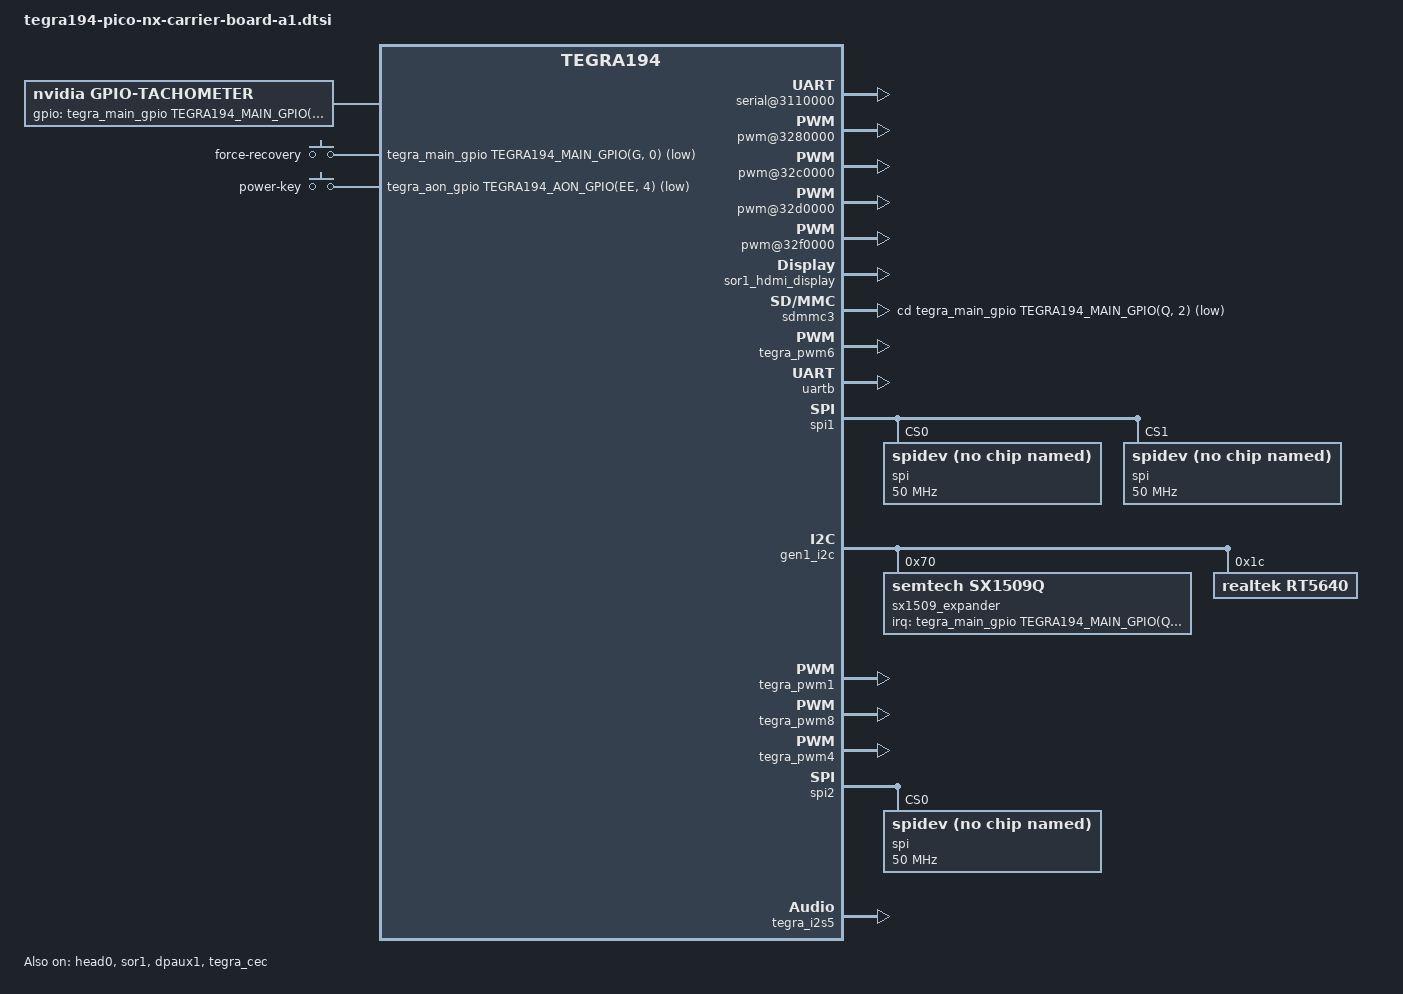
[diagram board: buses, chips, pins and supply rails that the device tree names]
/*
 * Copyright (c) 2019, NVIDIA CORPORATION.  All rights reserved.
 *
 * This program is free software; you can redistribute it and/or modify
 * it under the terms of the GNU General Public License as published by
 * the Free Software Foundation; version 2 of the License.
 *
 * This program is distributed in the hope that it will be useful, but WITHOUT
 * ANY WARRANTY; without even the implied warranty of MERCHANTABILITY or
 * FITNESS FOR A PARTICULAR PURPOSE.  See the GNU General Public License for
 * more details.
 */
#include <dt-bindings/gpio/tegra194-gpio.h>
#include "dt-bindings/input/input.h"
#include "tegra194-fixed-regulator-p3509-0000-a00.dtsi"
#include <dt-bindings/display/tegra-dc.h>
#include <dt-bindings/display/tegra-panel.h>
#include <t19x-common-platforms/tegra194-hdmi.dtsi>
#include <t19x-common-platforms/tegra194-dp.dtsi>
#include "tegra194-spmic-p3668.dtsi"
#include <audio/tegra-platforms-audio-dai-links.dtsi>

/**
 *	HDMI port
 */
&head0 {
	status = "okay";
	nvidia,fb-bpp = <32>;
	nvidia,fbmem-size = <265420800>; /* 8K (7680*4320) 32bpp double buffered */
	nvidia,fb-flags = <TEGRA_FB_FLIP_ON_PROBE>;
	win-mask = <0x7>;
	nvidia,fb-win = <0>;
	nvidia,dc-connector = <&sor1>;
	nvidia,dc-flags = <TEGRA_DC_FLAG_ENABLED>;
	avdd_hdmi-supply = <&p3668_spmic_sd0>; /* 1v0 */
	avdd_hdmi_pll-supply = <&p3668_spmic_sd1>; /* 1v8 */
	vdd_hdmi_5v0-supply = <&p3509_vdd_hdmi_5v0>; /* 5v0 */
};

&sor1 {
	status = "okay";
	nvidia,active-panel = <&sor1_hdmi_display>;
};

&sor1_hdmi_display {
	status = "okay";
	disp-default-out {
		nvidia,out-flags = <TEGRA_DC_OUT_HOTPLUG_LOW>;
	};
};

&dpaux1 {
	status = "okay";
};

&tegra_cec {
	status = "okay";
};

/**
 *	External SD card
 */ 
&sdmmc3 {
	mmc-ocr-mask = <0x0>;
	cd-inverted;
	cd-gpios = <&tegra_main_gpio TEGRA194_MAIN_GPIO(Q, 2) 0>;
	nvidia,cd-wakeup-capable;
	status = "okay";
};

/**
 * FAN System
 */

&tegra_pwm6 {
	status = "okay";
};

/ {

	tachometer {
        compatible = "nvidia,gpio-tachometer";
        win-len = <2>;
        pulse-per-rev = <2>;
        schedule-delay = <10000>;
        gpio = <&tegra_main_gpio TEGRA194_MAIN_GPIO(Y, 4) 0>;
        status = "okay";
    };
	
	pwm-fan {
		pwms = <&tegra_pwm6 0 45334>;
		vdd-fan-supply = <&p3509_vdd_fan>;
		profiles {
			default = "quiet";
			quiet {
				state_cap = <4>;
				active_pwm = <0 130 160 200 255 255 255 255 255 255>;
			};
			cool {
				state_cap = <4>;
				active_pwm = <0 140 170 200 255 255 255 255 255 255>;
			};
		};
	};
	
	thermal-fan-est {
		profiles {
			default = "quiet";
			quiet {
				active_trip_temps = <0 46000 60000 68000 76000
						140000 150000 160000 170000 180000>;
				active_hysteresis = <0 8000 8000 7000 7000
						0 0 0 0 0>;
			};
			cool {
				active_trip_temps = <0 35000 45000 53000 61000
						140000 150000 160000 170000 180000>;
				active_hysteresis = <0 8000 8000 7000 7000
						0 0 0 0 0>;
			};
		};
	};
};

/**
 *	External Header 
 */

// UART0 on external heeader
&uartb {
	compatible = "nvidia,tegra186-hsuart";
	status = "okay";
};

&spi0 {
	status = "disabled";
};

// SPI0 on external header
&spi1 {
	status = "okay";

	spi@0 { /* chip select 0 */
		compatible = "spidev";
		reg = <0x0>;
		spi-max-frequency = <50000000>;
		controller-data {
			nvidia,enable-hw-based-cs;
			nvidia,rx-clk-tap-delay = <0x10>;
			nvidia,tx-clk-tap-delay = <0x0>;
		};
	};

	spi@1 { /* chip select 1 */
		compatible = "spidev";
		reg = <0x1>;
		spi-max-frequency = <50000000>;
		controller-data {
			nvidia,enable-hw-based-cs;
			nvidia,rx-clk-tap-delay = <0x10>;
			nvidia,tx-clk-tap-delay = <0x0>;
		};
	};
};

&gen1_i2c {

	status = "okay";

	/* for 40 pin GPIO exapnder */
	sx1509_expander: i2c_gpio_expander@70 {
		#gpio-cells = <2>;
		#interrupt-cells = <2>;
		compatible = "semtech,sx1509q";
		reg = <0x70>;
		interrupt-parent = <&tegra_main_gpio>;
		interrupts = <TEGRA194_MAIN_GPIO(Q, 6) GPIO_ACTIVE_LOW>;
		gpio-controller;
		interrupt-controller;
	};	
};

// GPIO13_PWM
&tegra_pwm1 {
	status = "okay";
};

// GPIO07_PWM
&tegra_pwm8 {
	status = "okay";
};

&tegra_pwm4 {
	status = "okay";
};

/**
 *	Gyro sensor(WIP)
 */
&gen1_i2c {
	bmi160@69 {
		compatible = "bmi,bmi160";
		reg = <0x69>;
		interrupt-parent = <&tegra_aon_gpio>;
		interrupts = <TEGRA194_AON_GPIO(AA, 2) GPIO_ACTIVE_LOW>;
		accelerometer_matrix    = [01 00 00 00 01 00 00 00 01];
		gyroscope_matrix        = [01 00 00 00 01 00 00 00 01];
		accelerometer_delay_us_min = <1250>;
		gyroscope_delay_us_min = <1250>;
		status = "disabled";
	};
};

&spi2 {
	status = "okay";
	spi@0 { /* chip select 0 */
		compatible = "spidev";
		reg = <0x0>;
		spi-max-frequency = <50000000>;
		controller-data {
			nvidia,enable-hw-based-cs;
			nvidia,rx-clk-tap-delay = <0x10>;
			nvidia,tx-clk-tap-delay = <0x0>;
		};
	};
};

/** 
 *	Audio
 */

&gen1_i2c {
	rt5640: rt5640@1c {
		status = "okay";
		compatible = "realtek,rt5640";
		reg = <0x1c>;
	};
};

&tegra_i2s1 {
	status = "disabled";
};

&tegra_i2s2 {
	status = "disabled";
};

&tegra_i2s3 {
	status = "disabled";
};

&tegra_i2s4 {
	status = "disabled";
};

&tegra_i2s5 {
	status = "okay";
};

&tegra_i2s6 {
	status = "disabled";
};

/ {
	aconnect@2a41000 {
		status = "okay";

		agic-controller@2a41000 {
			status = "okay";
		};

		adsp@2993000 {
			status = "okay";
		};
	};

	hda@3510000 {
		hda,card-name = "tegra-hda-xnx";
		status = "okay";
	};

	tegra_sound: sound {
		status = "okay";
		compatible = "nvidia,tegra-audio-t186ref-mobile-rt565x";
		nvidia,model = "jetson-xaviernx-ape";
		nvidia,num-codec-link = <1>;
		nvidia,num-clk = <8>;
		nvidia,clk-rates = < 270950400  /* PLLA_x11025_RATE */
                    11289600    /* AUD_MCLK_x11025_RATE */
                    45158400    /* PLLA_OUT0_x11025_RATE */
                    45158400    /* AHUB_x11025_RATE */
                    245760000   /* PLLA_x8000_RATE */
                    12288000    /* AUD_MCLK_x8000_RATE */
                    49152000    /* PLLA_OUT0_x8000_RATE */
                    49152000 >; /* AHUB_x8000_RATE */

		clocks = <&bpmp_clks TEGRA194_CLK_PLLA>,
			 <&bpmp_clks TEGRA194_CLK_PLLA_OUT0>,
			 <&bpmp_clks TEGRA194_CLK_AUD_MCLK>;
		clock-names = "pll_a", "pll_a_out0", "extern1";

		assigned-clocks = <&bpmp_clks TEGRA194_CLK_PLLA_OUT0>,
				  <&bpmp_clks TEGRA194_CLK_AUD_MCLK>;
		assigned-clock-parents = <&bpmp_clks TEGRA194_CLK_PLLA>,
					 <&bpmp_clks TEGRA194_CLK_PLLA_OUT0>;

		nvidia,audio-routing =
			"x Headphone Jack", "x HPOL",
			"x Headphone Jack", "x HPOR",
			"x Int Spk", "x SPORP",
			"x Int Spk", "x SPORN",
			"x Int Spk", "x SPOLP",
			"x Int Spk", "x SPOLN",
			"x IN1P", "x Mic Jack",
			"x IN1P", "x MICBIAS1",
			"x IN2P", "x Int Mic",
			"x IN2P", "x MICBIAS1",
			"x IN3P", "x Int Mic",
			"x IN3P", "x MICBIAS1";
			
		mclk-fs = <256>;

		i2s_dai_link5: nvidia,dai-link-5 {
			name-prefix = "x";
			cpu-dai = <&tegra_i2s5>;
			cpu-dai-name = "I2S5";
			// link-name = "rt5640_playback";
			link-name = "rt565x-playback";
			codec-dai = <&rt5640>;
			codec-dai-name = "rt5640-aif1";
			
			format = "i2s";
			bitclock-slave;
			frame-slave;
			bitclock-noninversion;
			frame-noninversion;
			bit-format = "s16_le";
			bclk_ratio = <1>;
			srate = <48000>;
			num-channel = <1>;
			ignore_suspend;
			
			status = "okay";
		};
	};
};

/**
 * Others
 */
/ {
	gpio-keys {
		compatible = "gpio-keys";
		gpio-keys,name = "gpio-keys";

		forcerecovery {
			label = "force-recovery";
			gpios = <&tegra_main_gpio TEGRA194_MAIN_GPIO(G, 0) GPIO_ACTIVE_LOW>;
			linux,code = <BTN_1>;
		};

		power_key {
			label = "power-key";
			gpios = <&tegra_aon_gpio TEGRA194_AON_GPIO(EE, 4) GPIO_ACTIVE_LOW>;
			linux,code = <KEY_POWER>;
			gpio-key,wakeup;
		};
	};

	eeprom-manager {
		data-size = <0x100>;
		bus@0 {
			i2c-bus = <&gen1_i2c>;
			eeprom@1 {
				slave-address = <0x57>;
				label = "cvb";
			};
		};

		bus@1 {
			i2c-bus = <&gen2_i2c>;
			eeprom@1 {
				slave-address = <0x50>;
				label = "super-module";
			};
		};
	};

	serial@3110000 {
		status = "okay";
	};

	pwm@3280000 {
		status = "okay";
	};

	pwm@32c0000 {
		status = "okay";
	};

	pwm@32d0000 {
		status = "okay";
	};

	pwm@32f0000 {
		status = "okay";
	};

	gpio@2200000 {
		/* gpio-name for 40-pin header, gpio-name given as COL(10) x ROW(24),
		   Tegra-GPIO starts from 288 */
		gpio-line-names = "",   "",     "",     "",     "",     "",     "",     "",     "",     "",
		"",     "",     "",     "",     "",     "",     "",     "",     "",     "",
		"",     "",     "",     "",     "",     "",     "",     "",     "",     "",
		"",     "",     "",     "",     "",     "",     "",     "",     "",     "",
		"",     "",     "",     "",     "",     "",     "",     "",     "",     "",
		"",     "",     "",     "",     "",     "",     "",     "",     "",     "",
		"",     "",     "",     "",     "",     "",     "",     "",     "",     "",
		"",     "",     "",     "",     "",     "",     "",     "",     "",     "",
		"",     "",     "",     "",     "",     "",     "",     "",     "",     "",
		"",     "",     "",     "",     "",     "",     "",     "",     "",     "",
		"",     "",     "",     "",     "",     "GPIO13",     "",     "",     "",     "",
		"",     "",     "",     "",     "",     "",     "",     "",     "",     "",
		"",     "",     "",     "",     "",     "",     "",     "",     "",     "",
		"",     "",     "",     "GPIO01",     "GPIO11",     "",     "GPIO07",     "",     "",     "",
		"UART1_RTS",     "UART1_CTS",     "",     "",     "",     "",     "",     "",     "GPIO09",     "",
		"",     "",     "",     "",     "",     "",     "",     "I2S0_SCLK",     "I2S0_DOUT",     "I2S0_DIN",
		"I2S0_FS",     "",     "",     "",     "",     "",     "",     "",     "",     "",
		"",     "",     "",     "",     "",     "",     "",     "",     "",     "",
		"",     "",     "",     "",     "",     "",     "",     "",     "",     "",
		"",     "",     "SPI1_SCK",     "SPI1_MISO",     "SPI1_MOSI",     "SPI1_CS0",     "SPI1_CS1",     "",     "",     "",
		"",     "",     "",     "SPI0_SCK",     "SPI0_MISO",     "SPI0_MOSI",     "SPI0_CS0",     "SPI0_CS1",     "",     "",
		"",     "",     "",     "",     "",     "",     "",     "",     "",     "",
		"",     "",     "",     "",     "",     "",     "",     "",     "",     "",
		"",     "",     "",     "",     "",     "",     "",     "",     "",     "";
	};

	gpio@c2f0000 {
		/* gpio-name for 40-pin header, gpio-name given as COL(10) x ROW(2),
		   Tegra-AON-GPIO starts from 248 */
		gpio-line-names = "",   "",     "",     "",     "",     "",     "",     "",     "",     "",
		"",     "",     "",     "",     "",     "",     "",     "",     "",     "",     "GPIO12";
	};

};
